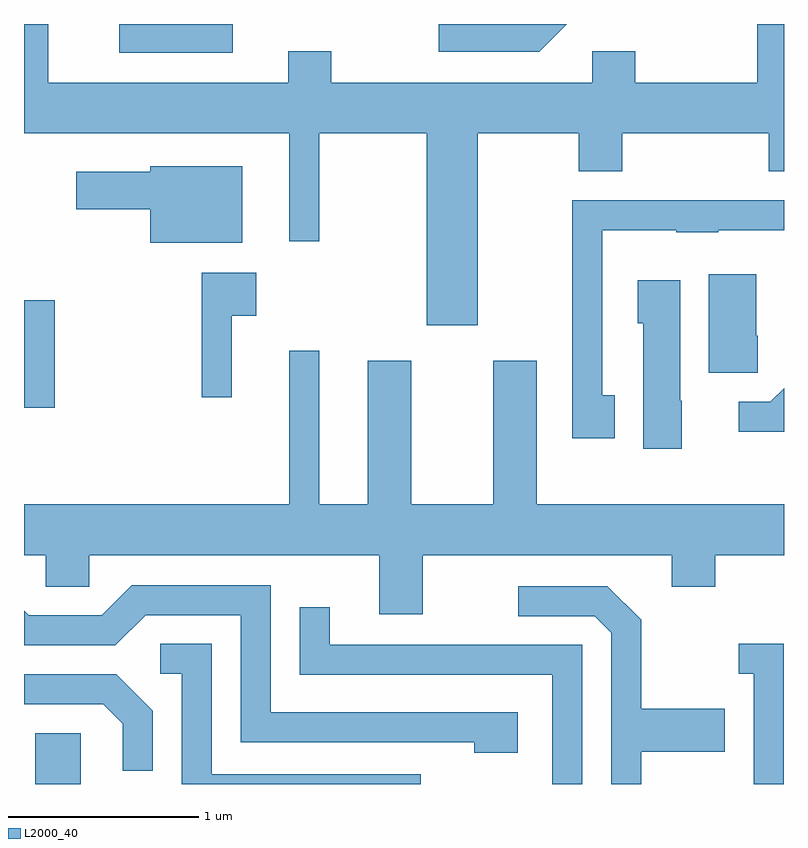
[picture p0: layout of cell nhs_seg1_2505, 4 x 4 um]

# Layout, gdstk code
import gdstk
lib = gdstk.Library(unit=1e-6, precision=1e-09)
def R(c, l, rs):  # rectangles x0, y0, x1, y1
    for r in rs: c.add(gdstk.rectangle(r[:2], r[2:], *l))
def P(c, l, *ps):  # polygons
    for p in ps: c.add(gdstk.Polygon(p, *l))
L2000_40 = (2000, 40)

nhs_seg1_2505 = lib.new_cell('nhs_seg1_2505')
R(nhs_seg1_2505, L2000_40, [(261.671,891.712,261.909,891.979), (261.611,893.691,261.774,894.259), (262.113,895.561,262.709,895.712)])
P(nhs_seg1_2505, L2000_40, [(263.999,895.136),(264.531,895.136),(264.531,894.936),(264.759,894.936),(264.759,895.136),(265.531,895.136),(265.531,894.936),(265.611,894.936),(265.611,895.712),(265.471,895.712),(265.471,895.404),(264.829,895.404),(264.829,895.569),(264.601,895.569),(264.601,895.404),(263.229,895.404),(263.229,895.569),(263.001,895.569),(263.001,895.404),(261.739,895.404),(261.739,895.712),(261.611,895.712),(261.611,895.136),(263.006,895.136),(263.006,894.568),(263.164,894.568),(263.164,895.136),(263.731,895.136),(263.731,894.126),(263.999,894.126)],
  [(264.467,895.712),(263.793,895.712),(263.793,895.566),(264.322,895.566)],
  [(262.759,894.964),(262.276,894.964),(262.276,894.934),(261.886,894.934),(261.886,894.736),(262.276,894.736),(262.276,894.561),(262.759,894.561)],
  [(264.719,893.759),(264.654,893.759),(264.654,894.626),(265.045,894.626),(265.045,894.616),(265.265,894.616),(265.265,894.626),(265.611,894.626),(265.611,894.784),(264.496,894.784),(264.496,893.531),(264.719,893.531)],
  [(262.704,894.176),(262.834,894.176),(262.834,894.404),(262.546,894.404),(262.546,893.748),(262.704,893.748)],
  [(265.474,894.07),(265.464,894.07),(265.464,894.394),(265.216,894.394),(265.216,893.876),(265.474,893.876)],
  [(265.074,893.73),(265.064,893.73),(265.064,894.364),(264.841,894.364),(264.841,894.136),(264.871,894.136),(264.871,893.476),(265.074,893.476)],
  [(265.021,892.751),(265.249,892.751),(265.249,892.916),(265.611,892.916),(265.611,893.184),(264.309,893.184),(264.309,893.939),(264.081,893.939),(264.081,893.184),(263.649,893.184),(263.649,893.939),(263.421,893.939),(263.421,893.184),(263.164,893.184),(263.164,893.993),(263.006,893.993),(263.006,893.184),(261.611,893.184),(261.611,892.916),(261.726,892.916),(261.726,892.751),(261.954,892.751),(261.954,892.916),(263.481,892.916),(263.481,892.606),(263.709,892.606),(263.709,892.916),(265.021,892.916)],
  [(265.611,893.796),(265.539,893.724),(265.373,893.724),(265.373,893.566),(265.611,893.566)],
  [(264.209,892.089),(262.909,892.089),(262.909,892.759),(262.179,892.759),(262.019,892.599),(261.637,892.599),(261.611,892.625),(261.611,892.441),(262.092,892.441),(262.252,892.601),(262.751,892.601),(262.751,891.931),(263.981,891.931),(263.981,891.876),(264.209,891.876)],
  [(264.859,891.881),(265.299,891.881),(265.299,892.109),(264.859,892.109),(264.859,892.577),(264.682,892.754),(264.213,892.754),(264.213,892.596),(264.614,892.596),(264.701,892.509),(264.701,891.712),(264.859,891.712)],
  [(264.549,892.444),(263.219,892.444),(263.219,892.643),(263.061,892.643),(263.061,892.286),(264.391,892.286),(264.391,891.712),(264.549,891.712)],
  [(265.609,892.449),(265.373,892.449),(265.373,892.291),(265.451,892.291),(265.451,891.712),(265.609,891.712)],
  [(263.698,891.764),(262.599,891.764),(262.599,892.449),(262.328,892.449),(262.328,892.291),(262.441,892.291),(262.441,891.712),(263.698,891.712)],
  [(262.289,892.097),(262.097,892.289),(261.611,892.289),(261.611,892.131),(262.029,892.131),(262.131,892.029),(262.131,891.783),(262.289,891.783)])

lib.write_gds('nhs_seg1_2505.gds')
